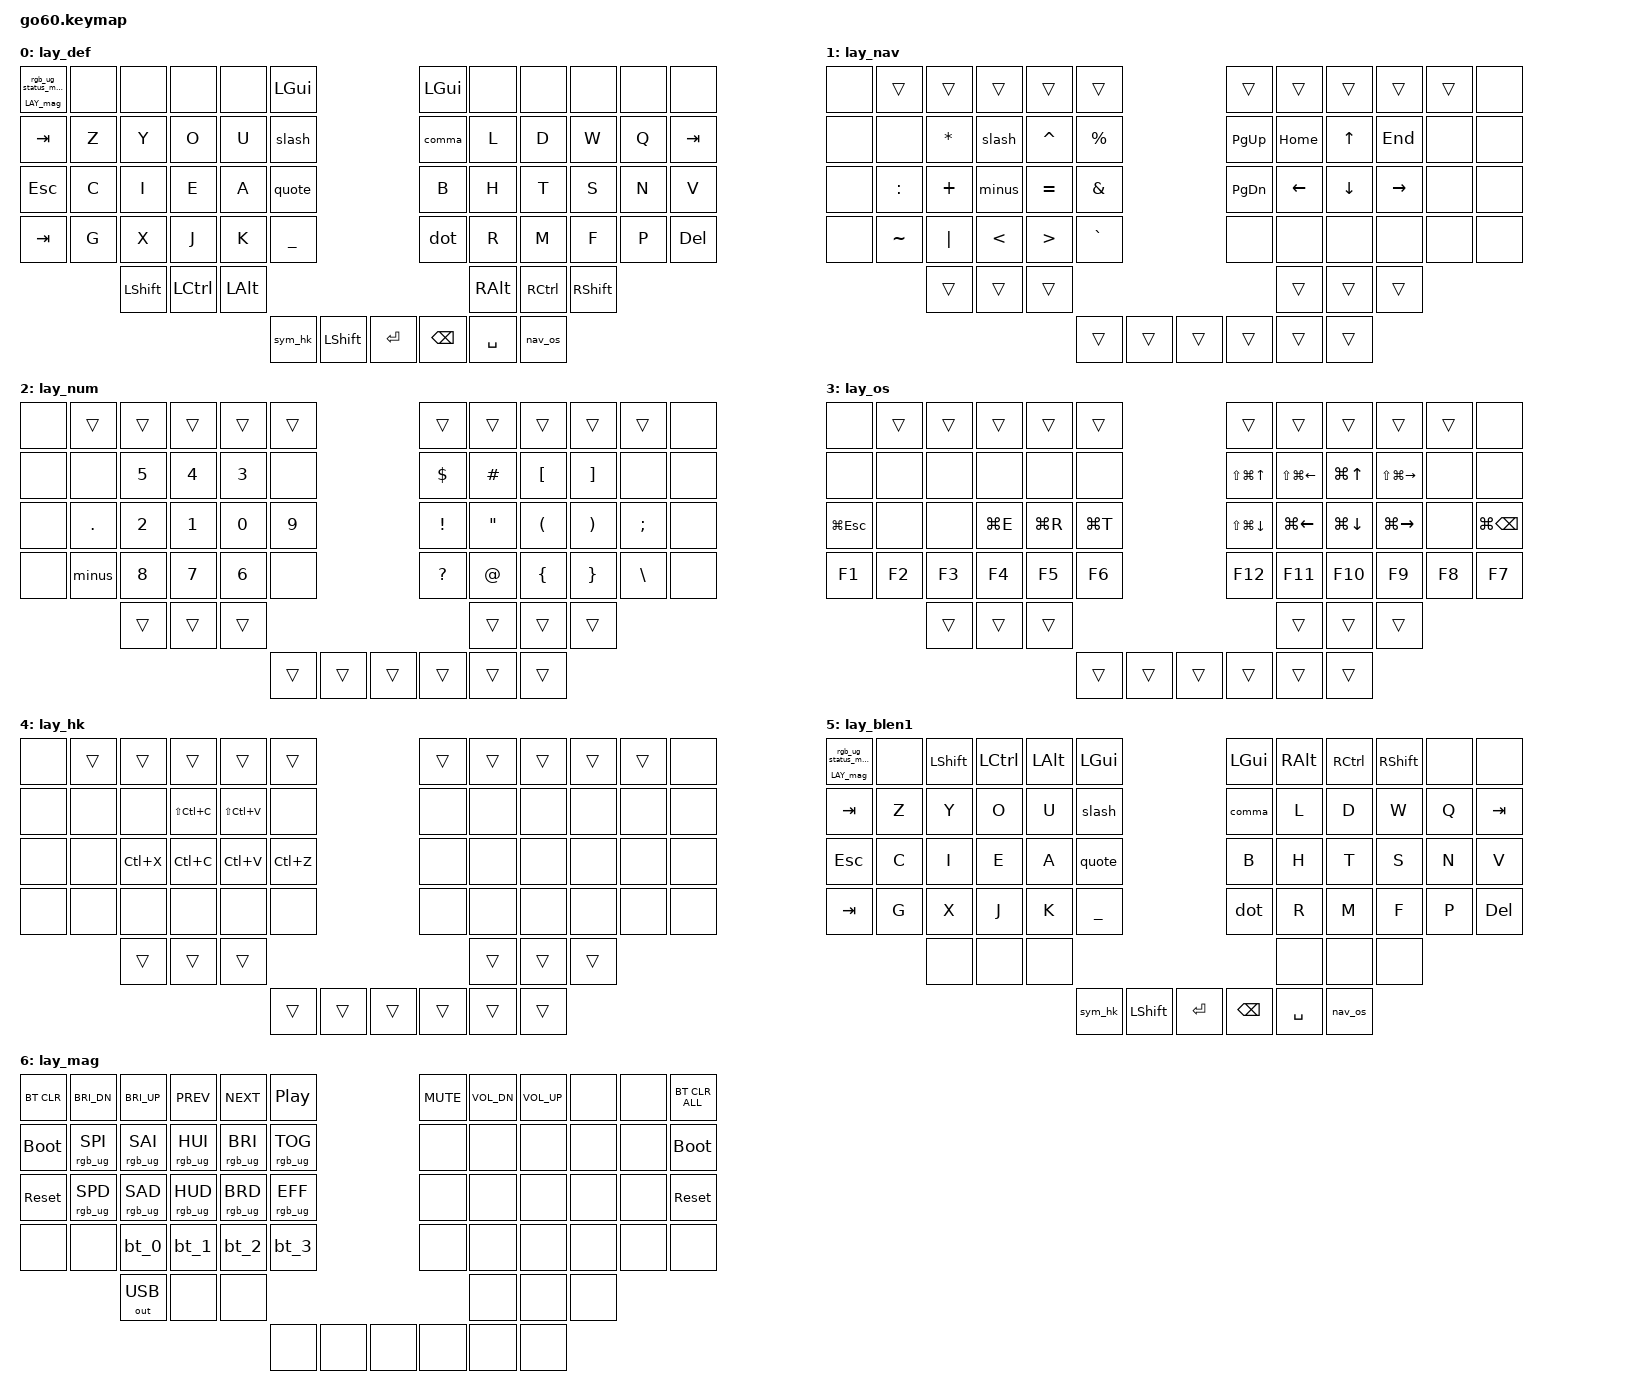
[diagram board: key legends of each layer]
/*
 * Copyright (c) 2020 The ZMK Contributors
 *
 * SPDX-License-Identifier: MIT
 */

#include <behaviors.dtsi>

#include <dt-bindings/zmk/bt.h>
#include <dt-bindings/zmk/ext_power.h>
#include <dt-bindings/zmk/keys.h>
#include <dt-bindings/zmk/outputs.h>
#include <dt-bindings/zmk/rgb.h>
#include <dt-bindings/zmk/input_transform.h>
#include <dt-bindings/zmk/pointing.h>

#include <input/processors.dtsi>
#include <zephyr/dt-bindings/input/input-event-codes.h>

// layers
#define LAY_def    0  // Default
#define LAY_nav    1
#define LAY_num    2
#define LAY_os     3
#define LAY_hk     4  // Hotkeys
#define LAY_blen1  5  // Blender Layer 1
#define LAY_mag    6  // Magic

/ {
    input_processors {
        zip_click_to_right_click_mapper: zip_click_to_right_click_mapper {
            compatible = "zmk,input-processor-code-mapper";
            #input-processor-cells = <0>;
            type = <INPUT_EV_KEY>;
            map = <INPUT_BTN_0 INPUT_BTN_1>;
        };

        zip_vert_scroll_scaler: zip_vert_scroll_scaler {
            compatible = "zmk,input-processor-scaler";
            #input-processor-cells = <2>;
            type = <INPUT_EV_REL>;
            codes = <INPUT_REL_WHEEL>;
            track-remainders;
        };

        zip_horiz_scroll_scaler: zip_horiz_scroll_scaler {
            compatible = "zmk,input-processor-scaler";
            #input-processor-cells = <2>;
            type = <INPUT_EV_REL>;
            codes = <INPUT_REL_HWHEEL>;
            track-remainders;
        };
    };

    behaviors {
        magic: magic {
            compatible = "zmk,behavior-hold-tap";
            #binding-cells = <2>;
            flavor = "tap-preferred";
            tapping-term-ms = <200>;
            bindings = <&mo>, <&rgb_ug_status_macro>;
        };

        bt_0: bt_0 {
            compatible = "zmk,behavior-tap-dance";
            #binding-cells = <0>;
            tapping-term-ms = <200>;
            bindings = <&bt_select_0>, <&bt BT_DISC 0>;
        };
        bt_1: bt_1 {
            compatible = "zmk,behavior-tap-dance";
            #binding-cells = <0>;
            tapping-term-ms = <200>;
            bindings = <&bt_select_1>, <&bt BT_DISC 1>;
        };
        bt_2: bt_2 {
            compatible = "zmk,behavior-tap-dance";
            #binding-cells = <0>;
            tapping-term-ms = <200>;
            bindings = <&bt_select_2>, <&bt BT_DISC 2>;
        };
        bt_3: bt_3 {
            compatible = "zmk,behavior-tap-dance";
            #binding-cells = <0>;
            tapping-term-ms = <200>;
            bindings = <&bt_select_3>, <&bt BT_DISC 3>;
        };

        //-----------
        // Cessen

//        // Press once for ctrl, twice for alt, thrice for ctrl+alt.
//        ctrl_alt: tap_dance_0 {
//            compatible = "zmk,behavior-tap-dance";
//            label = "CTRL_ALT_TAP_DANCE";
//            #binding-cells = <0>;
//            tapping-term-ms = <350>;
//            bindings = <&kp LCTRL>, <&kp LALT>, <&ctrl_and_alt>;
//        };
//
        // Press once for shift, twice for word caps.
        shft_cw: tap_dance_1 {
            compatible = "zmk,behavior-tap-dance";
            label = "SHIFT_CAPS_WORD_TAP_DANCE";
            #binding-cells = <0>;
            tapping-term-ms = <350>;
            bindings = <&kp LSHFT>, <&caps_word>;
        };

        // Press once for symbol/num layer, twice for hotkey layer.
        sym_hk: tap_dance_2 {
            compatible = "zmk,behavior-tap-dance";
            label = "SYM_HOTKEY_TAP_DANCE";
            #binding-cells = <0>;
            tapping-term-ms = <350>;
            bindings = <&mo LAY_num>, <&mo LAY_hk>;
        };

        // Press once for nav layer, twice for os layer.
        nav_os: tap_dance_3 {
            compatible = "zmk,behavior-tap-dance";
            label = "NAV_OS_TAP_DANCE";
            #binding-cells = <0>;
            tapping-term-ms = <350>;
            bindings = <&mo LAY_nav>, <&mo LAY_os>;
        };

        comma: comma_non_shifting {
            compatible = "zmk,behavior-mod-morph";
            #binding-cells = <0>;
            bindings = <&kp COMMA>, <&kp COMMA>;
            mods = <(MOD_LSFT)>;
        };

        dot: dot_non_shifting {
            compatible = "zmk,behavior-mod-morph";
            #binding-cells = <0>;
            bindings = <&kp DOT>, <&kp DOT>;
            mods = <(MOD_LSFT)>;
        };

        quote: quote_non_shifting {
            compatible = "zmk,behavior-mod-morph";
            #binding-cells = <0>;
            bindings = <&kp SQT>, <&kp SQT>;
            mods = <(MOD_LSFT)>;
        };

        minus: minus_non_shifting {
            compatible = "zmk,behavior-mod-morph";
            #binding-cells = <0>;
            bindings = <&kp MINUS>, <&kp MINUS>;
            mods = <(MOD_LSFT)>;
        };

        slash: slash_non_shifting {
            compatible = "zmk,behavior-mod-morph";
            #binding-cells = <0>;
            bindings = <&kp SLASH>, <&kp SLASH>;
            mods = <(MOD_LSFT)>;
        };
    };

    macros {
        rgb_ug_status_macro: rgb_ug_status_macro {
            compatible = "zmk,behavior-macro";
            #binding-cells = <0>;
            bindings = <&rgb_ug RGB_STATUS>;
        };

        bt_select_0: bt_select_0 {
            compatible = "zmk,behavior-macro";
            #binding-cells = <0>;
            bindings
                = <&out OUT_BLE>,
                  <&bt BT_SEL 0>;
        };
        bt_select_1: bt_select_1 {
            compatible = "zmk,behavior-macro";
            #binding-cells = <0>;
            bindings
                = <&out OUT_BLE>,
                  <&bt BT_SEL 1>;
        };
        bt_select_2: bt_select_2 {
            compatible = "zmk,behavior-macro";
            #binding-cells = <0>;
            bindings
                = <&out OUT_BLE>,
                  <&bt BT_SEL 2>;
        };
        bt_select_3: bt_select_3 {
            compatible = "zmk,behavior-macro";
            #binding-cells = <0>;
            bindings
                = <&out OUT_BLE>,
                  <&bt BT_SEL 3>;
        };
    };

    keymap {
        compatible = "zmk,keymap";

        lay_def {
            // A modified Engram layout.
            // ----------------------------------------------                                 ---------------------------------------------
            // | Magic |      |      |      |      | SUPER  |                                 | SUPER  |      |      |      |      |      |
            // ----------------------------------------------                                 ---------------------------------------------
            // | TAB   | Z    | Y    | O    | U    | /      |                                 | ,      | L    | D    | W    | Q    | TAB  |
            // ----------------------------------------------                                 ---------------------------------------------
            // | ESC   | C    | I    | E    | A    | '      |                                 | B      | H    | T    | S    | N    | V    |
            // ----------------------------------------------                                 ---------------------------------------------
            // | TAB   | G    | X    | J    | K    | _      |                                 | .      | R    | M    | F    | P    | DEL  |
            // ------------------------------------------------------------    ------------------------------------------------------------
            //                | SHFT | CTRL | ALT  | SYM/HK | SHIFT | RET |    | BSPC | SPACE | NAV/OS | ALT  | CTRL | SHFT |
            //                ---------------------------------------------    ----------------------------------------------
            bindings = <
            &magic LAY_mag 0   &none   &none       &none       &none      &kp LGUI                                                 &kp LGUI   &none      &none       &none       &none   &none
            &kp TAB            &kp Z   &kp Y       &kp O       &kp U      &slash                                                   &comma     &kp L      &kp D       &kp W       &kp Q   &kp TAB
            &kp ESC            &kp C   &kp I       &kp E       &kp A      &quote                                                   &kp B      &kp H      &kp T       &kp S       &kp N   &kp V
            &kp TAB            &kp G   &kp X       &kp J       &kp K      &kp UNDER                                                &dot       &kp R      &kp M       &kp F       &kp P   &kp DEL
                                       &kp LSHFT   &kp LCTRL   &kp LALT                                                                       &kp RALT   &kp RCTRL   &kp RSHFT
                                                                          &sym_hk   &kp LSHFT   &kp RET     &kp BSPC   &kp SPACE   &nav_os
            >;
        };

        lay_nav {
            // Navigation and left symbols.
            // -----------------------------------------------                                    -----------------------------------------------
            // |     | trans | trans | trans | trans | trans |                                    | trans | trans | trans | trans | trans |     |
            // -----------------------------------------------                                    -----------------------------------------------
            // |     |       |   *   |   /   |   ^   |   %   |                                    | PgUp  | Home  |   ↑   |  End  |       |     |
            // -----------------------------------------------                                    -----------------------------------------------
            // |     |   :   |   +   |   -   |   =   |   &   |                                    | PgDN  |   ←   |   ↓   |   →   |       |     |
            // -----------------------------------------------                                    -----------------------------------------------
            // |     |   ~   |   |   |   <   |   >   |   `   |                                    |       |       |       |       |       |     |
            // ---------------------------------------------------------------    ---------------------------------------------------------------
            //               | trans | trans | trans | trans | trans | trans |    | trans | trans | trans | trans | trans | trans |
            //               -------------------------------------------------    -------------------------------------------------
            bindings = <
            &none   &trans      &trans      &trans   &trans      &trans                                         &trans      &trans     &trans     &trans      &trans   &none
            &none   &none       &kp ASTRK   &slash   &kp CARET   &kp PRCNT                                      &kp PG_UP   &kp HOME   &kp UP     &kp END     &none    &none
            &none   &kp COLON   &kp PLUS    &minus   &kp EQUAL   &kp AMPS                                       &kp PG_DN   &kp LEFT   &kp DOWN   &kp RIGHT   &none    &none
            &none   &kp TILDE   &kp PIPE    &kp LT   &kp GT      &kp GRAVE                                      &none       &none      &none      &none       &none    &none
                                &trans      &trans   &trans                                                                 &trans     &trans     &trans
                                                                 &trans   &trans   &trans     &trans   &trans   &trans
            >;
        };

        lay_num {
            // Numbers and right symbols.
            // -----------------------------------------------                                    -----------------------------------------------
            // |     | trans | trans | trans | trans | trans |                                    | trans | trans | trans | trans | trans |     |
            // -----------------------------------------------                                    -----------------------------------------------
            // |     |       |   5   |   4   |   3   |       |                                    |   $   |   #   |   [   |   ]   |       |     |
            // -----------------------------------------------                                    -----------------------------------------------
            // |     |   .   |   2   |   1   |   0   |   9   |                                    |   !   |   "   |   (   |   )   |   ;   |     |
            // -----------------------------------------------                                    -----------------------------------------------
            // |     |   -   |   8   |   7   |   6   |       |                                    |   ?   |   @   |   {   |   }   |   \   |     |
            // ---------------------------------------------------------------    -------------------------------------------------
            //               | trans | trans | trans | trans | trans | trans |    | trans | trans | trans | trans | trans | trans |
            //               -------------------------------------------------    -------------------------------------------------
            bindings = <
            &none   &trans    &trans   &trans   &trans   &trans                                         &trans      &trans     &trans     &trans     &trans     &none
            &none   &none     &kp N5   &kp N4   &kp N3   &none                                          &kp DLLR    &kp HASH   &kp LBKT   &kp RBKT   &none      &none
            &none   &kp DOT   &kp N2   &kp N1   &kp N0   &kp N9                                         &kp EXCL    &kp DQT    &kp LPAR   &kp RPAR   &kp SEMI   &none
            &none   &minus    &kp N8   &kp N7   &kp N6   &none                                          &kp QMARK   &kp AT     &kp LBRC   &kp RBRC   &kp BSLH   &none
                              &trans   &trans   &trans                                                              &trans     &trans     &trans
                                                         &trans   &trans   &trans     &trans   &trans   &trans
            >;
        };

        lay_os {
            // OS keys.
            // --------------------------------------------------                                    -------------------------------------------------
            // |        | trans | trans | trans | trans | trans |                                    | trans | trans | trans | trans | trans |       |
            // --------------------------------------------------                                    -------------------------------------------------
            // |        |       |       |       |       |       |                                    | W Up  |  W L  | D Up  |  W R  |       |       |
            // --------------------------------------------------                                    -------------------------------------------------
            // | Shtdwn |       |       | File  |  Run  | Term  |                                    | W Dn  |  D L  | D Dn  |  D R  |       | Close |
            // --------------------------------------------------                                    -------------------------------------------------
            // |   F1   |  F2   |  F3   |  F4   |  F5   |  F6   |                                    |  F12  |  F11  |  F10  |  F9   |  F8   |  F7   |
            // ------------------------------------------------------------------    -----------------------------------------------------------------
            //                  | trans | trans | trans | trans | trans | trans |    | trans | trans | trans | trans | trans | trans |
            //                  -------------------------------------------------    -------------------------------------------------
            bindings = <
            &none         &trans   &trans   &trans      &trans      &trans                                         &trans             &trans             &trans         &trans              &trans   &none
            &none         &none    &none    &none       &none       &none                                          &kp LS(LG(UP))     &kp LS(LG(LEFT))   &kp LG(UP)     &kp LS(LG(RIGHT))   &none    &none
            &kp LG(ESC)   &none    &none    &kp LG(E)   &kp LG(R)   &kp LG(T)                                      &kp LS(LG(DOWN))   &kp LG(LEFT)       &kp LG(DOWN)   &kp LG(RIGHT)       &none    &kp LG(BSPC)
            &kp F1        &kp F2   &kp F3   &kp F4      &kp F5      &kp F6                                         &kp F12            &kp F11            &kp F10        &kp F9              &kp F8   &kp F7
                                   &trans   &trans      &trans                                                                        &trans             &trans         &trans
                                                                    &trans   &trans   &trans     &trans   &trans   &trans
            >;
        };

        lay_hk {
            // Hotkeys.
            // -------------------------------------------------------------                                    -----------------------------------------------
            // |     | trans | trans  |    trans    |    trans    | trans  |                                    | trans | trans | trans | trans | trans |     |
            // -------------------------------------------------------------                                    -----------------------------------------------
            // |     |       |        | Shft-Ctrl-C | Shft-Ctrl-V |        |                                    |       |       |       |       |       |     |
            // -------------------------------------------------------------                                    -----------------------------------------------
            // |     |       | Ctrl-X |   Ctrl-C    |   Ctrl-V    | Ctrl-Z |                                    |       |       |       |       |       |     |
            // -------------------------------------------------------------                                    -----------------------------------------------
            // |     |       |        |             |             |        |                                    |       |       |       |       |       |     |
            // -----------------------------------------------------------------------------    -------------------------------------------------
            //               | trans  |    trans    |    trans    | trans  | trans | trans |    | trans | trans | trans | trans | trans | trans |
            //               ---------------------------------------------------------------    -------------------------------------------------
            bindings = <
            &none   &trans   &trans      &trans          &trans          &trans                                         &trans   &trans   &trans   &trans   &trans   &none
            &none   &none    &none       &kp LS(LC(C))   &kp LS(LC(V))   &none                                          &none    &none    &none    &none    &none    &none
            &none   &none    &kp LC(X)   &kp LC(C)       &kp LC(V)       &kp LC(Z)                                      &none    &none    &none    &none    &none    &none
            &none   &none    &none       &none           &none           &none                                          &none    &none    &none    &none    &none    &none
                             &trans      &trans          &trans                                                                  &trans   &trans   &trans
                                                                         &trans   &trans   &trans     &trans   &trans   &trans
            >;
        };

        //======================================================

        lay_blen1 {
            // A layout specifically for using Blender.
            // ----------------------------------------------                                  ---------------------------------------------
            // | Magic |      |      |      |      |        |                                  |        |      |      |      |      |      |
            // ----------------------------------------------                                  ---------------------------------------------
            // |       |      |      |      |      |        |                                  | ,      | L    | D    | W    | Q    | TAB  |
            // ----------------------------------------------                                  ---------------------------------------------
            // |  ESC  | TAB  |  S   |  R   |  G   |  RET   |                                  | B      | H    | T    | S    | N    | V    |
            // ----------------------------------------------                                  ---------------------------------------------
            // |       | ALT  |  X   |  Y   |  Z   |        |                                  | .      | R    | M    | F    | P    | DEL  |
            // -------------------------------------------------------------    ------------------------------------------------------------
            //                |      |      |      | SYM/HK | SHIFT | CTRL |    | BSPC | SPACE | NAV/OS |      |      |      |
            //                ----------------------------------------------    ----------------------------------------------
            bindings = <
            &magic LAY_mag 0   &none   &kp LSHFT   &kp LCTRL   &kp LALT   &kp LGUI                                                 &kp LGUI   &kp RALT   &kp RCTRL   &kp RSHFT   &none   &none
            &kp TAB            &kp Z   &kp Y       &kp O       &kp U      &slash                                                   &comma     &kp L      &kp D       &kp W       &kp Q   &kp TAB
            &kp ESC            &kp C   &kp I       &kp E       &kp A      &quote                                                   &kp B      &kp H      &kp T       &kp S       &kp N   &kp V
            &kp TAB            &kp G   &kp X       &kp J       &kp K      &kp UNDER                                                &dot       &kp R      &kp M       &kp F       &kp P   &kp DEL
                                       &none       &none       &none                                                                          &none      &none       &none
                                                                          &sym_hk   &kp LSHFT   &kp RET     &kp BSPC   &kp SPACE   &nav_os
            >;
        };

        //======================================================

        lay_mag {
            bindings = <
            &bt BT_CLR    &kp C_BRI_DN      &kp C_BRI_UP      &kp C_PREV        &kp C_NEXT        &kp C_PP                                  &kp C_MUTE  &kp C_VOL_DN  &kp C_VOL_UP   &none   &none    &bt BT_CLR_ALL
            &bootloader   &rgb_ug RGB_SPI   &rgb_ug RGB_SAI   &rgb_ug RGB_HUI   &rgb_ug RGB_BRI   &rgb_ug RGB_TOG                           &none       &none         &none          &none   &none    &bootloader
            &sys_reset    &rgb_ug RGB_SPD   &rgb_ug RGB_SAD   &rgb_ug RGB_HUD   &rgb_ug RGB_BRD   &rgb_ug RGB_EFF                           &none       &none         &none          &none   &none    &sys_reset
            &none         &none             &bt_0             &bt_1             &bt_2             &bt_3                                     &none       &none         &none          &none   &none    &none
                                            &out OUT_USB      &none             &none                                                                   &none         &none          &none
                                                                                                  &none   &none   &none     &none   &none   &none
            >;
        };

    };
};

&cirque_rh_listener {
    input-processors = <&zip_xy_scaler 3 2>;
    layer_1 {
        layers = <LAY_nav LAY_num>;
        input-processors = <&zip_xy_scaler 3 1>;
    };
};

&cirque_lh_listener {
    input-processors =
        <&zip_xy_to_scroll_mapper>,
        <&zip_scroll_transform INPUT_TRANSFORM_Y_INVERT>,
        <&zip_vert_scroll_scaler 1 8>,
        <&zip_horiz_scroll_scaler 1 8>,
        <&zip_click_to_right_click_mapper>;

    layer_4 {
        layers = <LAY_nav LAY_num>;
        input-processors =
            <&zip_xy_to_scroll_mapper>,
            <&zip_scroll_transform INPUT_TRANSFORM_Y_INVERT>,
            <&zip_vert_scroll_scaler 1 32>,
            <&zip_horiz_scroll_scaler 1 32>,
            <&zip_click_to_right_click_mapper>;
    };
};
